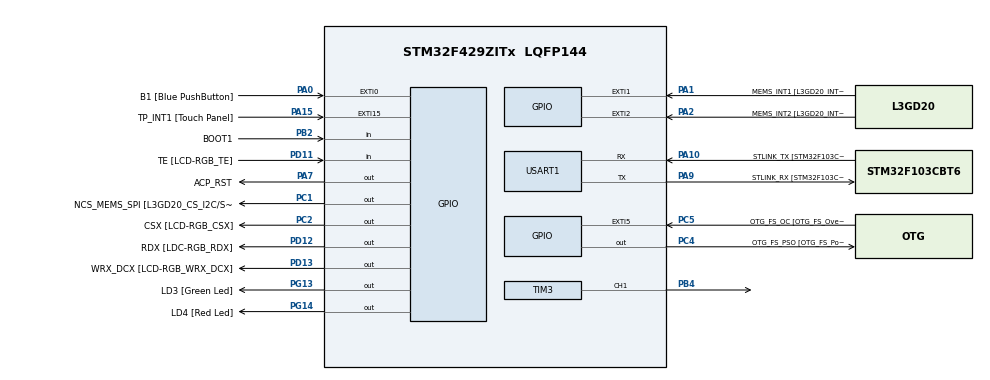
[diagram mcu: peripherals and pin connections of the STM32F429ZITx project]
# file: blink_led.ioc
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Dma.Request0=USART1_RX
Dma.USART1_RX.0.Direction=DMA_PERIPH_TO_MEMORY
Dma.USART1_RX.0.FIFOMode=DMA_FIFOMODE_DISABLE
Dma.USART1_RX.0.Instance=DMA2_Stream2
Dma.USART1_RX.0.MemDataAlignment=DMA_MDATAALIGN_BYTE
Dma.USART1_RX.0.MemInc=DMA_MINC_ENABLE
Dma.USART1_RX.0.Mode=DMA_CIRCULAR
Dma.USART1_RX.0.PeriphDataAlignment=DMA_PDATAALIGN_BYTE
Dma.USART1_RX.0.PeriphInc=DMA_PINC_DISABLE
Dma.USART1_RX.0.Priority=DMA_PRIORITY_LOW
FREERTOS.Tasks01=defaultTask,0,128,StartDefaultTask,Default,NULL,Dynamic,NULL,NULL
FREERTOS.configTOTAL_HEAP_SIZE=2048
Mcu.Family=STM32F4
Mcu.Name=STM32F429ZITx
Mcu.Package=LQFP144
NVIC.DMA2_Stream2_IRQn=true\:5\:0\:false\:false\:true\:true\:false\:true\:true
NVIC.PriorityGroup=NVIC_PRIORITYGROUP_4
NVIC.USART1_IRQn=true\:5\:0\:false\:false\:true\:true\:true\:true\:true
PA0/WKUP.GPIO_Label=B1 [Blue PushButton]
PA0/WKUP.GPIO_ModeDefaultEXTI=GPIO_MODE_EVT_RISING
PA0/WKUP.GPIO_PuPd=GPIO_NOPULL
PA0/WKUP.Signal=GPXTI0
PA1.GPIO_Label=MEMS_INT1 [L3GD20_INT1]
PA1.GPIO_ModeDefaultEXTI=GPIO_MODE_EVT_RISING
PA1.GPIO_PuPd=GPIO_NOPULL
PA1.Signal=GPXTI1
PA10.GPIO_Label=STLINK_TX [STM32F103CBT6_PA2]
PA10.Mode=Asynchronous
PA10.Signal=USART1_RX
PA11.GPIO_Label=R4
PA11.GPIO_Mode=GPIO_MODE_AF_PP
PA11.GPIO_PuPd=GPIO_NOPULL
PA11.GPIO_Speed=GPIO_SPEED_FREQ_LOW
PA11.Signal=LTDC_R4
PA12.GPIO_Label=R5
PA12.GPIO_Mode=GPIO_MODE_AF_PP
PA12.GPIO_PuPd=GPIO_NOPULL
PA12.GPIO_Speed=GPIO_SPEED_FREQ_LOW
PA12.Signal=LTDC_R5
PA13.GPIO_Label=SWDIO
PA13.Mode=Serial_Wire
PA13.Signal=SYS_JTMS-SWDIO
PA14.GPIO_Label=SWCLK
PA14.Mode=Serial_Wire
PA14.Signal=SYS_JTCK-SWCLK
PA15.GPIO_Label=TP_INT1 [Touch Panel]
PA15.GPIO_ModeDefaultEXTI=GPIO_MODE_EVT_RISING
PA15.GPIO_PuPd=GPIO_NOPULL
PA15.Signal=GPXTI15
PA2.GPIO_Label=MEMS_INT2 [L3GD20_INT2]
PA2.GPIO_ModeDefaultEXTI=GPIO_MODE_EVT_RISING
PA2.GPIO_PuPd=GPIO_NOPULL
PA2.Signal=GPXTI2
PA3.GPIO_Label=B5
PA3.GPIO_Mode=GPIO_MODE_AF_PP
PA3.GPIO_PuPd=GPIO_NOPULL
PA3.GPIO_Speed=GPIO_SPEED_FREQ_LOW
PA3.Signal=LTDC_B5
PA4.GPIO_Label=VSYNC
PA4.GPIO_Mode=GPIO_MODE_AF_PP
PA4.GPIO_PuPd=GPIO_NOPULL
PA4.GPIO_Speed=GPIO_SPEED_FREQ_LOW
PA4.Signal=LTDC_VSYNC
PA6.GPIO_Label=G2
PA6.GPIO_Mode=GPIO_MODE_AF_PP
PA6.GPIO_PuPd=GPIO_NOPULL
PA6.GPIO_Speed=GPIO_SPEED_FREQ_LOW
PA6.Signal=LTDC_G2
PA7.GPIO_Label=ACP_RST
PA7.GPIO_Mode=GPIO_MODE_OUTPUT_PP
PA7.GPIO_PuPd=GPIO_NOPULL
PA7.GPIO_Speed=GPIO_SPEED_FREQ_LOW
PA7.Signal=GPIO_Output
PA8.GPIO_Label=I2C3_SCL [ACP/RF_SCL]
PA8.GPIO_Mode=GPIO_MODE_AF_OD
PA8.GPIO_PuPd=GPIO_NOPULL
PA8.GPIO_Speed=GPIO_SPEED_FREQ_LOW
PA8.Signal=I2C3_SCL
PA9.GPIO_Label=STLINK_RX [STM32F103CBT6_PA3]
PA9.Mode=Asynchronous
PA9.Signal=USART1_TX
PB0.GPIO_Label=R3
PB0.GPIO_Mode=GPIO_MODE_AF_PP
PB0.GPIO_PuPd=GPIO_NOPULL
PB0.GPIO_Speed=GPIO_SPEED_FREQ_LOW
PB0.Signal=LTDC_R3
PB1.GPIO_Label=R6
PB1.GPIO_Mode=GPIO_MODE_AF_PP
PB1.GPIO_PuPd=GPIO_NOPULL
PB1.GPIO_Speed=GPIO_SPEED_FREQ_LOW
PB1.Signal=LTDC_R6
PB10.GPIO_Label=G4
PB10.GPIO_Mode=GPIO_MODE_AF_PP
PB10.GPIO_PuPd=GPIO_NOPULL
PB10.GPIO_Speed=GPIO_SPEED_FREQ_LOW
PB10.Signal=LTDC_G4
PB11.GPIO_Label=G5
PB11.GPIO_Mode=GPIO_MODE_AF_PP
PB11.GPIO_PuPd=GPIO_NOPULL
PB11.GPIO_Speed=GPIO_SPEED_FREQ_LOW
PB11.Signal=LTDC_G5
PB12.GPIO_Label=OTG_HS_ID
PB12.GPIO_Mode=GPIO_MODE_AF_PP
PB12.GPIO_PuPd=GPIO_NOPULL
PB12.GPIO_Speed=GPIO_SPEED_FREQ_LOW
PB12.Signal=USB_OTG_HS_ID
PB13.GPIO_Label=VBUS_HS
PB13.GPIO_Mode=GPIO_MODE_INPUT
PB13.GPIO_PuPd=GPIO_NOPULL
PB13.Signal=USB_OTG_HS_VBUS
PB14.GPIO_Label=OTG_HS_DM
PB14.GPIO_Mode=GPIO_MODE_AF_PP
PB14.GPIO_PuPd=GPIO_NOPULL
PB14.GPIO_Speed=GPIO_SPEED_FREQ_LOW
PB14.Signal=USB_OTG_HS_DM
PB15.GPIO_Label=OTG_HS_DP
PB15.GPIO_Mode=GPIO_MODE_AF_PP
PB15.GPIO_PuPd=GPIO_NOPULL
PB15.GPIO_Speed=GPIO_SPEED_FREQ_LOW
PB15.Signal=USB_OTG_HS_DP
PB2/BOOT1.GPIO_Label=BOOT1
PB2/BOOT1.GPIO_Mode=GPIO_MODE_INPUT
PB2/BOOT1.GPIO_PuPd=GPIO_NOPULL
PB2/BOOT1.Signal=GPIO_Input
PB4.Signal=S_TIM3_CH1
PB5.GPIO_Label=SDCKE1
PB5.GPIO_Mode=GPIO_MODE_AF_PP
PB5.GPIO_PuPd=GPIO_NOPULL
PB5.GPIO_Speed=GPIO_SPEED_FREQ_VERY_HIGH
PB5.Signal=FMC_SDCKE1
PB6.GPIO_Label=SDNE1 [SDRAM_CS]
PB6.GPIO_Mode=GPIO_MODE_AF_PP
PB6.GPIO_PuPd=GPIO_NOPULL
PB6.GPIO_Speed=GPIO_SPEED_FREQ_VERY_HIGH
PB6.Signal=FMC_SDNE1
PB8.GPIO_Label=B6
PB8.GPIO_Mode=GPIO_MODE_AF_PP
PB8.GPIO_PuPd=GPIO_NOPULL
PB8.GPIO_Speed=GPIO_SPEED_FREQ_LOW
PB8.Signal=LTDC_B6
PB9.GPIO_Label=B7
PB9.GPIO_Mode=GPIO_MODE_AF_PP
PB9.GPIO_PuPd=GPIO_NOPULL
PB9.GPIO_Speed=GPIO_SPEED_FREQ_LOW
PB9.Signal=LTDC_B7
PC0.GPIO_Label=SDNWE
PC0.GPIO_Mode=GPIO_MODE_AF_PP
PC0.GPIO_PuPd=GPIO_NOPULL
PC0.GPIO_Speed=GPIO_SPEED_FREQ_VERY_HIGH
PC0.Signal=FMC_SDNWE
PC1.GPIO_Label=NCS_MEMS_SPI [L3GD20_CS_I2C/SPI]
PC1.GPIO_Mode=GPIO_MODE_OUTPUT_PP
PC1.GPIO_PuPd=GPIO_NOPULL
PC1.GPIO_Speed=GPIO_SPEED_FREQ_LOW
PC1.Signal=GPIO_Output
PC10.GPIO_Label=R2
PC10.GPIO_Mode=GPIO_MODE_AF_PP
PC10.GPIO_PuPd=GPIO_NOPULL
PC10.GPIO_Speed=GPIO_SPEED_FREQ_LOW
PC10.Signal=LTDC_R2
PC14/OSC32_IN.GPIO_Label=PC14-OSC32_IN
PC14/OSC32_IN.Signal=RCC_OSC32_IN
PC15/OSC32_OUT.GPIO_Label=PC15-OSC32_OUT
PC15/OSC32_OUT.Signal=RCC_OSC32_OUT
PC2.GPIO_Label=CSX [LCD-RGB_CSX]
PC2.GPIO_Mode=GPIO_MODE_OUTPUT_PP
PC2.GPIO_PuPd=GPIO_NOPULL
PC2.GPIO_Speed=GPIO_SPEED_FREQ_LOW
PC2.Signal=GPIO_Output
PC4.GPIO_Label=OTG_FS_PSO [OTG_FS_PowerSwitchOn]
PC4.GPIO_Mode=GPIO_MODE_OUTPUT_PP
PC4.GPIO_PuPd=GPIO_NOPULL
PC4.GPIO_Speed=GPIO_SPEED_FREQ_LOW
PC4.Signal=GPIO_Output
PC5.GPIO_Label=OTG_FS_OC [OTG_FS_OverCurrent]
PC5.GPIO_ModeDefaultEXTI=GPIO_MODE_EVT_RISING
PC5.Signal=GPXTI5
PC6.GPIO_Label=HSYNC
PC6.GPIO_Mode=GPIO_MODE_AF_PP
PC6.GPIO_PuPd=GPIO_NOPULL
PC6.GPIO_Speed=GPIO_SPEED_FREQ_LOW
PC6.Signal=LTDC_HSYNC
PC7.GPIO_Label=G6
PC7.GPIO_Mode=GPIO_MODE_AF_PP
PC7.GPIO_PuPd=GPIO_NOPULL
PC7.GPIO_Speed=GPIO_SPEED_FREQ_LOW
PC7.Signal=LTDC_G6
PC9.GPIO_Label=I2C3_SDA [ACP/RF_SDA]
PC9.GPIO_Mode=GPIO_MODE_AF_OD
PC9.GPIO_PuPd=GPIO_NOPULL
PC9.GPIO_Speed=GPIO_SPEED_FREQ_LOW
PC9.Signal=I2C3_SDA
PD0.GPIO_Label=D2
PD0.GPIO_Mode=GPIO_MODE_AF_PP
PD0.GPIO_PuPd=GPIO_NOPULL
PD0.GPIO_Speed=GPIO_SPEED_FREQ_VERY_HIGH
PD0.Signal=FMC_D2_DA2
PD1.GPIO_Label=D3
PD1.GPIO_Mode=GPIO_MODE_AF_PP
PD1.GPIO_PuPd=GPIO_NOPULL
PD1.GPIO_Speed=GPIO_SPEED_FREQ_VERY_HIGH
PD1.Signal=FMC_D3_DA3
PD10.GPIO_Label=D15
PD10.GPIO_Mode=GPIO_MODE_AF_PP
PD10.GPIO_PuPd=GPIO_NOPULL
PD10.GPIO_Speed=GPIO_SPEED_FREQ_VERY_HIGH
PD10.Signal=FMC_D15_DA15
PD11.GPIO_Label=TE [LCD-RGB_TE]
PD11.GPIO_Mode=GPIO_MODE_INPUT
PD11.GPIO_PuPd=GPIO_NOPULL
PD11.Signal=GPIO_Input
PD12.GPIO_Label=RDX [LDC-RGB_RDX]
PD12.GPIO_Mode=GPIO_MODE_OUTPUT_PP
PD12.GPIO_PuPd=GPIO_NOPULL
PD12.GPIO_Speed=GPIO_SPEED_FREQ_LOW
PD12.Signal=GPIO_Output
PD13.GPIO_Label=WRX_DCX [LCD-RGB_WRX_DCX]
PD13.GPIO_Mode=GPIO_MODE_OUTPUT_PP
PD13.GPIO_PuPd=GPIO_NOPULL
PD13.GPIO_Speed=GPIO_SPEED_FREQ_LOW
PD13.Signal=GPIO_Output
PD14.GPIO_Label=D0
PD14.GPIO_Mode=GPIO_MODE_AF_PP
PD14.GPIO_PuPd=GPIO_NOPULL
PD14.GPIO_Speed=GPIO_SPEED_FREQ_VERY_HIGH
PD14.Signal=FMC_D0_DA0
PD15.GPIO_Label=D1
PD15.GPIO_Mode=GPIO_MODE_AF_PP
PD15.GPIO_PuPd=GPIO_NOPULL
PD15.GPIO_Speed=GPIO_SPEED_FREQ_VERY_HIGH
PD15.Signal=FMC_D1_DA1
PD3.GPIO_Label=G7
PD3.GPIO_Mode=GPIO_MODE_AF_PP
PD3.GPIO_PuPd=GPIO_NOPULL
PD3.GPIO_Speed=GPIO_SPEED_FREQ_LOW
PD3.Signal=LTDC_G7
PD6.GPIO_Label=B2
PD6.GPIO_Mode=GPIO_MODE_AF_PP
PD6.GPIO_PuPd=GPIO_NOPULL
PD6.GPIO_Speed=GPIO_SPEED_FREQ_LOW
PD6.Signal=LTDC_B2
PD8.GPIO_Label=D13
PD8.GPIO_Mode=GPIO_MODE_AF_PP
PD8.GPIO_PuPd=GPIO_NOPULL
PD8.GPIO_Speed=GPIO_SPEED_FREQ_VERY_HIGH
PD8.Signal=FMC_D13_DA13
PD9.GPIO_Label=D14
PD9.GPIO_Mode=GPIO_MODE_AF_PP
PD9.GPIO_PuPd=GPIO_NOPULL
PD9.GPIO_Speed=GPIO_SPEED_FREQ_VERY_HIGH
PD9.Signal=FMC_D14_DA14
PE0.GPIO_Label=NBL0 [SDRAM_LDQM]
PE0.GPIO_Mode=GPIO_MODE_AF_PP
PE0.GPIO_PuPd=GPIO_NOPULL
PE0.GPIO_Speed=GPIO_SPEED_FREQ_VERY_HIGH
PE0.Signal=FMC_NBL0
PE1.GPIO_Label=NBL1 [SDRAM_UDQM]
PE1.GPIO_Mode=GPIO_MODE_AF_PP
PE1.GPIO_PuPd=GPIO_NOPULL
PE1.GPIO_Speed=GPIO_SPEED_FREQ_VERY_HIGH
PE1.Signal=FMC_NBL1
PE10.GPIO_Label=D7
PE10.GPIO_Mode=GPIO_MODE_AF_PP
PE10.GPIO_PuPd=GPIO_NOPULL
PE10.GPIO_Speed=GPIO_SPEED_FREQ_VERY_HIGH
PE10.Signal=FMC_D7_DA7
PE11.GPIO_Label=D8
PE11.GPIO_Mode=GPIO_MODE_AF_PP
PE11.GPIO_PuPd=GPIO_NOPULL
PE11.GPIO_Speed=GPIO_SPEED_FREQ_VERY_HIGH
PE11.Signal=FMC_D8_DA8
PE12.GPIO_Label=D9
PE12.GPIO_Mode=GPIO_MODE_AF_PP
PE12.GPIO_PuPd=GPIO_NOPULL
PE12.GPIO_Speed=GPIO_SPEED_FREQ_VERY_HIGH
PE12.Signal=FMC_D9_DA9
PE13.GPIO_Label=D10
PE13.GPIO_Mode=GPIO_MODE_AF_PP
PE13.GPIO_PuPd=GPIO_NOPULL
PE13.GPIO_Speed=GPIO_SPEED_FREQ_VERY_HIGH
PE13.Signal=FMC_D10_DA10
PE14.GPIO_Label=D11
PE14.GPIO_Mode=GPIO_MODE_AF_PP
PE14.GPIO_PuPd=GPIO_NOPULL
PE14.GPIO_Speed=GPIO_SPEED_FREQ_VERY_HIGH
PE14.Signal=FMC_D11_DA11
PE15.GPIO_Label=D12
PE15.GPIO_Mode=GPIO_MODE_AF_PP
PE15.GPIO_PuPd=GPIO_NOPULL
PE15.GPIO_Speed=GPIO_SPEED_FREQ_VERY_HIGH
PE15.Signal=FMC_D12_DA12
PE7.GPIO_Label=D4
PE7.GPIO_Mode=GPIO_MODE_AF_PP
PE7.GPIO_PuPd=GPIO_NOPULL
PE7.GPIO_Speed=GPIO_SPEED_FREQ_VERY_HIGH
PE7.Signal=FMC_D4_DA4
PE8.GPIO_Label=D5
PE8.GPIO_Mode=GPIO_MODE_AF_PP
PE8.GPIO_PuPd=GPIO_NOPULL
PE8.GPIO_Speed=GPIO_SPEED_FREQ_VERY_HIGH
PE8.Signal=FMC_D5_DA5
PE9.GPIO_Label=D6
PE9.GPIO_Mode=GPIO_MODE_AF_PP
PE9.GPIO_PuPd=GPIO_NOPULL
PE9.GPIO_Speed=GPIO_SPEED_FREQ_VERY_HIGH
PE9.Signal=FMC_D6_DA6
PF0.GPIO_Label=A0
PF0.GPIO_Mode=GPIO_MODE_AF_PP
PF0.GPIO_PuPd=GPIO_NOPULL
PF0.GPIO_Speed=GPIO_SPEED_FREQ_VERY_HIGH
PF0.Signal=FMC_A0
PF1.GPIO_Label=A1
PF1.GPIO_Mode=GPIO_MODE_AF_PP
PF1.GPIO_PuPd=GPIO_NOPULL
PF1.GPIO_Speed=GPIO_SPEED_FREQ_VERY_HIGH
PF1.Signal=FMC_A1
PF10.GPIO_Label=ENABLE [LCD-RGB_ENABLE]
PF10.GPIO_Mode=GPIO_MODE_AF_PP
PF10.GPIO_PuPd=GPIO_NOPULL
PF10.GPIO_Speed=GPIO_SPEED_FREQ_LOW
PF10.Signal=LTDC_DE
PF11.GPIO_Label=SDNRAS
PF11.GPIO_Mode=GPIO_MODE_AF_PP
PF11.GPIO_PuPd=GPIO_NOPULL
PF11.GPIO_Speed=GPIO_SPEED_FREQ_VERY_HIGH
PF11.Signal=FMC_SDNRAS
PF12.GPIO_Label=A6
PF12.GPIO_Mode=GPIO_MODE_AF_PP
PF12.GPIO_PuPd=GPIO_NOPULL
PF12.GPIO_Speed=GPIO_SPEED_FREQ_VERY_HIGH
PF12.Signal=FMC_A6
PF13.GPIO_Label=A7
PF13.GPIO_Mode=GPIO_MODE_AF_PP
PF13.GPIO_PuPd=GPIO_NOPULL
PF13.GPIO_Speed=GPIO_SPEED_FREQ_VERY_HIGH
PF13.Signal=FMC_A7
PF14.GPIO_Label=A8
PF14.GPIO_Mode=GPIO_MODE_AF_PP
PF14.GPIO_PuPd=GPIO_NOPULL
PF14.GPIO_Speed=GPIO_SPEED_FREQ_VERY_HIGH
PF14.Signal=FMC_A8
PF15.GPIO_Label=A9
PF15.GPIO_Mode=GPIO_MODE_AF_PP
PF15.GPIO_PuPd=GPIO_NOPULL
PF15.GPIO_Speed=GPIO_SPEED_FREQ_VERY_HIGH
PF15.Signal=FMC_A9
PF2.GPIO_Label=A2
PF2.GPIO_Mode=GPIO_MODE_AF_PP
PF2.GPIO_PuPd=GPIO_NOPULL
PF2.GPIO_Speed=GPIO_SPEED_FREQ_VERY_HIGH
PF2.Signal=FMC_A2
PF3.GPIO_Label=A3
PF3.GPIO_Mode=GPIO_MODE_AF_PP
PF3.GPIO_PuPd=GPIO_NOPULL
PF3.GPIO_Speed=GPIO_SPEED_FREQ_VERY_HIGH
PF3.Signal=FMC_A3
PF4.GPIO_Label=A4
PF4.GPIO_Mode=GPIO_MODE_AF_PP
PF4.GPIO_PuPd=GPIO_NOPULL
PF4.GPIO_Speed=GPIO_SPEED_FREQ_VERY_HIGH
PF4.Signal=FMC_A4
PF5.GPIO_Label=A5
PF5.GPIO_Mode=GPIO_MODE_AF_PP
PF5.GPIO_PuPd=GPIO_NOPULL
PF5.GPIO_Speed=GPIO_SPEED_FREQ_VERY_HIGH
PF5.Signal=FMC_A5
PF7.GPIO_Label=SPI5_SCK [L3GD20_SCL/SPC]
PF7.GPIO_Mode=GPIO_MODE_AF_PP
PF7.GPIO_PuPd=GPIO_NOPULL
PF7.GPIO_Speed=GPIO_SPEED_FREQ_LOW
PF7.Signal=SPI5_SCK
PF8.GPIO_Label=SPI5_MISO [L3GD20_SDO]
PF8.GPIO_Mode=GPIO_MODE_AF_PP
PF8.GPIO_PuPd=GPIO_NOPULL
PF8.GPIO_Speed=GPIO_SPEED_FREQ_LOW
PF8.Signal=SPI5_MISO
PF9.GPIO_Label=SPI5_MOSI [L3GD20_SDA/SDI/SDO]
PF9.GPIO_Mode=GPIO_MODE_AF_PP
PF9.GPIO_PuPd=GPIO_NOPULL
PF9.GPIO_Speed=GPIO_SPEED_FREQ_LOW
PF9.Signal=SPI5_MOSI
PG0.GPIO_Label=A10
PG0.GPIO_Mode=GPIO_MODE_AF_PP
PG0.GPIO_PuPd=GPIO_NOPULL
PG0.GPIO_Speed=GPIO_SPEED_FREQ_VERY_HIGH
PG0.Signal=FMC_A10
PG1.GPIO_Label=A11
PG1.GPIO_Mode=GPIO_MODE_AF_PP
PG1.GPIO_PuPd=GPIO_NOPULL
PG1.GPIO_Speed=GPIO_SPEED_FREQ_VERY_HIGH
PG1.Signal=FMC_A11
PG10.GPIO_Label=G3
PG10.GPIO_Mode=GPIO_MODE_AF_PP
PG10.GPIO_PuPd=GPIO_NOPULL
PG10.GPIO_Speed=GPIO_SPEED_FREQ_LOW
PG10.Signal=LTDC_G3
PG11.GPIO_Label=B3
PG11.GPIO_Mode=GPIO_MODE_AF_PP
PG11.GPIO_PuPd=GPIO_NOPULL
PG11.GPIO_Speed=GPIO_SPEED_FREQ_LOW
PG11.Signal=LTDC_B3
PG12.GPIO_Label=B4
PG12.GPIO_Mode=GPIO_MODE_AF_PP
PG12.GPIO_PuPd=GPIO_NOPULL
PG12.GPIO_Speed=GPIO_SPEED_FREQ_LOW
PG12.Signal=LTDC_B4
PG13.GPIO_Label=LD3 [Green Led]
PG13.GPIO_Mode=GPIO_MODE_OUTPUT_PP
PG13.GPIO_PuPd=GPIO_NOPULL
PG13.GPIO_Speed=GPIO_SPEED_FREQ_LOW
PG13.Signal=GPIO_Output
PG14.GPIO_Label=LD4 [Red Led]
PG14.GPIO_Mode=GPIO_MODE_OUTPUT_PP
PG14.GPIO_PuPd=GPIO_NOPULL
PG14.GPIO_Speed=GPIO_SPEED_FREQ_LOW
PG14.Signal=GPIO_Output
PG15.GPIO_Label=SDNCAS
PG15.GPIO_Mode=GPIO_MODE_AF_PP
PG15.GPIO_PuPd=GPIO_NOPULL
PG15.GPIO_Speed=GPIO_SPEED_FREQ_VERY_HIGH
PG15.Signal=FMC_SDNCAS
PG4.GPIO_Label=BA0
PG4.GPIO_Mode=GPIO_MODE_AF_PP
PG4.GPIO_PuPd=GPIO_NOPULL
PG4.GPIO_Speed=GPIO_SPEED_FREQ_VERY_HIGH
PG4.Signal=FMC_A14_BA0
PG5.GPIO_Label=BA1
PG5.GPIO_Mode=GPIO_MODE_AF_PP
PG5.GPIO_PuPd=GPIO_NOPULL
PG5.GPIO_Speed=GPIO_SPEED_FREQ_VERY_HIGH
PG5.Signal=FMC_A15_BA1
PG6.GPIO_Label=R7
PG6.GPIO_Mode=GPIO_MODE_AF_PP
PG6.GPIO_PuPd=GPIO_NOPULL
PG6.GPIO_Speed=GPIO_SPEED_FREQ_LOW
PG6.Signal=LTDC_R7
PG7.GPIO_Label=DOTCLK [LCT-RGB_DOTCLK]
PG7.GPIO_Mode=GPIO_MODE_AF_PP
PG7.GPIO_PuPd=GPIO_NOPULL
PG7.GPIO_Speed=GPIO_SPEED_FREQ_LOW
PG7.Signal=LTDC_CLK
PG8.GPIO_Label=SDCLK
PG8.GPIO_Mode=GPIO_MODE_AF_PP
PG8.GPIO_PuPd=GPIO_NOPULL
PG8.GPIO_Speed=GPIO_SPEED_FREQ_VERY_HIGH
PG8.Signal=FMC_SDCLK
PH0/OSC_IN.GPIO_Label=PH0-OSC_IN
PH0/OSC_IN.Signal=RCC_OSC_IN
PH1/OSC_OUT.GPIO_Label=PH1-OSC_OUT
PH1/OSC_OUT.Signal=RCC_OSC_OUT
ProjectManager.HeapSize=0x200
ProjectManager.StackSize=0x400
ProjectManager.TargetToolchain=CMake
RCC.48MHZClocksFreq_Value=14285714.285714285
RCC.AHBFreq_Value=25000000
RCC.APB1CLKDivider=RCC_HCLK_DIV8
RCC.APB1Freq_Value=3125000
RCC.APB1TimFreq_Value=6250000
RCC.APB2CLKDivider=RCC_HCLK_DIV4
RCC.APB2Freq_Value=6250000
RCC.APB2TimFreq_Value=12500000
RCC.CortexFreq_Value=25000000
RCC.HCLKFreq_Value=25000000
RCC.HSE_VALUE=8000000
RCC.HSI_VALUE=16000000
RCC.LSE_VALUE=32768
RCC.PLLM=8
RCC.PLLN=50
RCC.PLLP=RCC_PLLP_DIV4
RCC.PLLQ=7
RCC.SYSCLKFreq_VALUE=25000000
RCC.SYSCLKSource=RCC_SYSCLKSOURCE_PLLCLK
RCC.VCOOutputFreq_Value=100000000
SH.FMC_A0.0=FMC_A0
SH.FMC_A1.0=FMC_A1
SH.FMC_A10.0=FMC_A10
SH.FMC_A11.0=FMC_A11
SH.FMC_A14_BA0.0=FMC_BA0
SH.FMC_A15_BA1.0=FMC_BA1
SH.FMC_A2.0=FMC_A2
SH.FMC_A3.0=FMC_A3
SH.FMC_A4.0=FMC_A4
SH.FMC_A5.0=FMC_A5
SH.FMC_A6.0=FMC_A6
SH.FMC_A7.0=FMC_A7
SH.FMC_A8.0=FMC_A8
SH.FMC_A9.0=FMC_A9
SH.FMC_D0_DA0.0=FMC_D0
SH.FMC_D10_DA10.0=FMC_D10
SH.FMC_D11_DA11.0=FMC_D11
SH.FMC_D12_DA12.0=FMC_D12
SH.FMC_D13_DA13.0=FMC_D13
SH.FMC_D14_DA14.0=FMC_D14
SH.FMC_D15_DA15.0=FMC_D15
SH.FMC_D1_DA1.0=FMC_D1
SH.FMC_D2_DA2.0=FMC_D2
SH.FMC_D3_DA3.0=FMC_D3
SH.FMC_D4_DA4.0=FMC_D4
SH.FMC_D5_DA5.0=FMC_D5
SH.FMC_D6_DA6.0=FMC_D6
SH.FMC_D7_DA7.0=FMC_D7
SH.FMC_D8_DA8.0=FMC_D8
SH.FMC_D9_DA9.0=FMC_D9
SH.FMC_NBL0.0=FMC_NBL0
SH.FMC_NBL1.0=FMC_NBL1
SH.FMC_SDCLK.0=FMC_SDCLK
SH.FMC_SDNCAS.0=FMC_SDNCAS
SH.FMC_SDNRAS.0=FMC_SDNRAS
SH.FMC_SDNWE.0=FMC_SDNWE
SH.S_TIM3_CH1.0=TIM3_CH1,PWM Generation1 CH1
TIM3.Channel-PWM\ Generation1\ CH1=TIM_CHANNEL_1
TIM3.Period=1000
TIM3.Pulse-PWM\ Generation1\ CH1=500
USART1.VirtualMode=VM_ASYNC
VP_FREERTOS_VS_CMSIS_V1.Mode=CMSIS_V1
VP_TIM2_VS_ClockSourceINT.Mode=Internal
board=STM32F429I-DISC1

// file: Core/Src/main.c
/* USER CODE BEGIN Header */
/**
  ******************************************************************************
  * @file           : main.c
  * @brief          : Main program body
  ******************************************************************************
  * @attention
  *
  * Copyright (c) 2026 STMicroelectronics.
  * All rights reserved.
  *
  * This software is licensed under terms that can be found in the LICENSE file
  * in the root directory of this software component.
  * If no LICENSE file comes with this software, it is provided AS-IS.
  *
  ******************************************************************************
  */
/* USER CODE END Header */
#include "main.h"
#include "cmsis_os.h"

/* USER CODE BEGIN Includes */
#include <stdint.h>
#include <string.h>
#include <stdio.h>
/* USER CODE END Includes */

// osThreadId defaultTaskHandle;
/* USER CODE BEGIN PV */
QueueHandle_t cmdQueueHandle;
QueueHandle_t rxQueueHandle;
QueueHandle_t txQueueHandle;

TaskHandle_t uartRxTaskHandle;
TaskHandle_t uartTxTaskHandle;
TaskHandle_t commandTaskHandle;

SemaphoreHandle_t uartMutex;
/* USER CODE END PV */

void SystemClock_Config(void);
static void MX_GPIO_Init(void);
static void MX_DMA_Init(void);
static void MX_TIM2_Init(void);
static void MX_TIM3_Init(void);
static void MX_USART1_UART_Init(void);
void StartDefaultTask(void const * argument);

/* USER CODE BEGIN PFP */
void UartRxTask(void const * argument);
void UartTxTask(void const * argument);
void CommandTask(void const * argument);

static void process_byte(uint8_t rx);
void UART1_SendByte(uint8_t data)
{
    // Чекаємо, поки передавач готовий
    while (!LL_USART_IsActiveFlag_TXE(USART1));
    LL_USART_TransmitData8(USART1, data);
}

/* USER CODE END PFP */

/* USER CODE BEGIN 0 */

#define DMA_RX_BUFFER_SIZE 64

uint8_t dmaRxBuffer[DMA_RX_BUFFER_SIZE];

void UART1_SendString(const char* str)
{
  xSemaphoreTake(uartMutex, portMAX_DELAY);
  while(*str)
  {
      UART1_SendByte(*str++);
  }
  xSemaphoreGive(uartMutex);
}
#define CMD_BUFFER_SIZE 16
#define TX_BUFFER_SIZE 64
char cmdBuffer[CMD_BUFFER_SIZE];
uint8_t cmdIndex = 0;
uint8_t start_flag = 0;
uint8_t end_flag = 0;
uint8_t led_on = 0;

void cleanupBuffers()
{
	cmdIndex = 0;
	cmdBuffer[0] = '\0';
	start_flag = 0;
	end_flag = 0;
}

typedef struct {
    char data[CMD_BUFFER_SIZE];
} Command_t;

typedef struct {
    char data[TX_BUFFER_SIZE];
} TxMessage_t;

/* USER CODE END 0 */

int main(void)
{

  /* MCU Configuration--------------------------------------------------------*/

  /* Reset of all peripherals, Initializes the Flash interface and the Systick. */
  LL_APB2_GRP1_EnableClock(LL_APB2_GRP1_PERIPH_SYSCFG);
  LL_APB1_GRP1_EnableClock(LL_APB1_GRP1_PERIPH_PWR);

  /* System interrupt init*/
  NVIC_SetPriorityGrouping(NVIC_PRIORITYGROUP_4);

  /* PendSV_IRQn interrupt configuration */
  NVIC_SetPriority(PendSV_IRQn, NVIC_EncodePriority(NVIC_GetPriorityGrouping(),15, 0));
  /* SysTick_IRQn interrupt configuration */
  NVIC_SetPriority(SysTick_IRQn, NVIC_EncodePriority(NVIC_GetPriorityGrouping(),15, 0));

  /* Configure the system clock */
  SystemClock_Config();

  /* Initialize all configured peripherals */
  MX_GPIO_Init();
  MX_DMA_Init();
  MX_TIM2_Init();
  MX_TIM3_Init();
  MX_USART1_UART_Init();
  /* USER CODE BEGIN 2 */
  LL_USART_EnableDMAReq_RX(USART1);
  LL_DMA_SetDataLength(DMA2, LL_DMA_STREAM_2, DMA_RX_BUFFER_SIZE);

  LL_DMA_SetPeriphAddress(DMA2, LL_DMA_STREAM_2, (uint32_t)&USART1->DR);
  LL_DMA_SetMemoryAddress(DMA2, LL_DMA_STREAM_2, (uint32_t)dmaRxBuffer);
  LL_DMA_SetDataLength(DMA2, LL_DMA_STREAM_2, DMA_RX_BUFFER_SIZE);

  LL_DMA_EnableStream(DMA2, LL_DMA_STREAM_2);

  // LL_USART_EnableIT_RXNE(USART1);
  NVIC_SetPriority(USART1_IRQn, 7);
  NVIC_EnableIRQ(USART1_IRQn);

  // UART1_SendString("STM32 LL UART ready!\r\n");

  /* USER CODE END 2 */

  /* USER CODE BEGIN RTOS_MUTEX */
  /* add mutexes, ... */
  uartMutex = xSemaphoreCreateMutex();
  /* USER CODE END RTOS_MUTEX */

  /* USER CODE BEGIN RTOS_QUEUES */
  /* add queues, ... */

  rxQueueHandle  = xQueueCreate(32, sizeof(uint16_t));
  if (rxQueueHandle == NULL)
  {
    UART1_SendString("UartRxTask Queue create FAILED\r\n");
    Error_Handler();
  }
  cmdQueueHandle = xQueueCreate(5, sizeof(Command_t));
  if (cmdQueueHandle == NULL)
  {
    UART1_SendString("CommandTask Queue create FAILED\r\n");
    Error_Handler();
  }
  txQueueHandle  = xQueueCreate(5, sizeof(TxMessage_t));
  if (txQueueHandle == NULL)
  {
    UART1_SendString("UartTxTask Queue create FAILED\r\n");
    Error_Handler();
  }
  /* USER CODE END RTOS_QUEUES */

  /* Create the thread(s) */
  /* definition and creation of defaultTask */
  // osThreadDef(defaultTask, StartDefaultTask, osPriorityNormal, 0, 128);
  // defaultTaskHandle = osThreadCreate(osThread(defaultTask), NULL);

  /* USER CODE BEGIN RTOS_THREADS */
  /* add threads, ... */
  osThreadDef(uartRxTask, UartRxTask, osPriorityNormal, 0, 256);
  uartRxTaskHandle = osThreadCreate(osThread(uartRxTask), NULL);
  if (uartRxTaskHandle == NULL)
  {
    UART1_SendString("uartRxTaskHandle: FAIL\r\n");
  }

  /**
  | Компонент       | Памʼять     |
  | --------------- | ----------- |
  | Stack задач     | 2048 B      |   256 words * 4 bytes = 1024 bytes * 2 = 2048 bytes
  | TCB             | 400 B       |   ~200 bytes * 2 = ~400 bytes
  | Queue           | 290 B       |   Queue Control Block (QCB) = ~80 bytes * 2 = 160 bytes + rxQueueHandle: 32 * 8 bytes / cmdQueueHandle: 5 * 16 bytes + alignments
  | Kernel overhead | 400 B       |   configMINIMAL_STACK_SIZE = 128 => 128 words × 4 bytes = 512 bytes
  | **Total**       | **3000+ B** |
  */

  osThreadDef(commandTask, CommandTask, osPriorityNormal, 0, 256);
  commandTaskHandle = osThreadCreate(osThread(commandTask), NULL);
  if (commandTaskHandle == NULL)
  {
    UART1_SendString("commandTaskHandle: FAIL\r\n");
  }
  osThreadDef(uartTxTask, UartTxTask, osPriorityLow, 0, 256);
  uartTxTaskHandle = osThreadCreate(osThread(uartTxTask), NULL);
  if (uartTxTaskHandle == NULL)
  {
    UART1_SendString("uartTxTaskHandle: FAIL\r\n");
  }
  /* USER CODE END RTOS_THREADS */

  /* Start scheduler */
  osKernelStart();

  /* We should never get here as control is now taken by the scheduler */

  /* Infinite loop */
  while (1)
  {

  }
}

void SystemClock_Config(void)
{
  LL_FLASH_SetLatency(LL_FLASH_LATENCY_0);
  while(LL_FLASH_GetLatency()!= LL_FLASH_LATENCY_0)
  {
  }
  LL_PWR_SetRegulVoltageScaling(LL_PWR_REGU_VOLTAGE_SCALE3);
  LL_PWR_DisableOverDriveMode();
  LL_RCC_HSI_SetCalibTrimming(16);
  LL_RCC_HSI_Enable();

   /* Wait till HSI is ready */
  while(LL_RCC_HSI_IsReady() != 1)
  {

  }
  LL_RCC_PLL_ConfigDomain_SYS(LL_RCC_PLLSOURCE_HSI, LL_RCC_PLLM_DIV_8, 50, LL_RCC_PLLP_DIV_4);
  LL_RCC_PLL_Enable();

   /* Wait till PLL is ready */
  while(LL_RCC_PLL_IsReady() != 1)
  {

  }
  while (LL_PWR_IsActiveFlag_VOS() == 0)
  {
  }
  LL_RCC_SetAHBPrescaler(LL_RCC_SYSCLK_DIV_1);
  LL_RCC_SetAPB1Prescaler(LL_RCC_APB1_DIV_8);
  LL_RCC_SetAPB2Prescaler(LL_RCC_APB2_DIV_4);
  LL_RCC_SetSysClkSource(LL_RCC_SYS_CLKSOURCE_PLL);

   /* Wait till System clock is ready */
  while(LL_RCC_GetSysClkSource() != LL_RCC_SYS_CLKSOURCE_STATUS_PLL)
  {

  }
  LL_Init1msTick(25000000);
  LL_SetSystemCoreClock(25000000);
  LL_RCC_SetTIMPrescaler(LL_RCC_TIM_PRESCALER_TWICE);
}

static void MX_TIM2_Init(void)
{

  LL_TIM_InitTypeDef TIM_InitStruct = {0};

  /* Peripheral clock enable */
  LL_APB1_GRP1_EnableClock(LL_APB1_GRP1_PERIPH_TIM2);

  TIM_InitStruct.Prescaler = 0;
  TIM_InitStruct.CounterMode = LL_TIM_COUNTERMODE_UP;
  TIM_InitStruct.Autoreload = 4294967295;
  TIM_InitStruct.ClockDivision = LL_TIM_CLOCKDIVISION_DIV1;
  LL_TIM_Init(TIM2, &TIM_InitStruct);
  LL_TIM_DisableARRPreload(TIM2);
  LL_TIM_SetClockSource(TIM2, LL_TIM_CLOCKSOURCE_INTERNAL);
  LL_TIM_SetTriggerOutput(TIM2, LL_TIM_TRGO_RESET);
  LL_TIM_DisableMasterSlaveMode(TIM2);

}

static void MX_TIM3_Init(void)
{

  LL_TIM_InitTypeDef TIM_InitStruct = {0};
  LL_TIM_OC_InitTypeDef TIM_OC_InitStruct = {0};

  LL_GPIO_InitTypeDef GPIO_InitStruct = {0};

  /* Peripheral clock enable */
  LL_APB1_GRP1_EnableClock(LL_APB1_GRP1_PERIPH_TIM3);

  TIM_InitStruct.Prescaler = 0;
  TIM_InitStruct.CounterMode = LL_TIM_COUNTERMODE_UP;
  TIM_InitStruct.Autoreload = 1000;
  TIM_InitStruct.ClockDivision = LL_TIM_CLOCKDIVISION_DIV1;
  LL_TIM_Init(TIM3, &TIM_InitStruct);
  LL_TIM_DisableARRPreload(TIM3);
  LL_TIM_OC_EnablePreload(TIM3, LL_TIM_CHANNEL_CH1);
  TIM_OC_InitStruct.OCMode = LL_TIM_OCMODE_PWM1;
  TIM_OC_InitStruct.OCState = LL_TIM_OCSTATE_DISABLE;
  TIM_OC_InitStruct.OCNState = LL_TIM_OCSTATE_DISABLE;
  TIM_OC_InitStruct.CompareValue = 500;
  TIM_OC_InitStruct.OCPolarity = LL_TIM_OCPOLARITY_HIGH;
  LL_TIM_OC_Init(TIM3, LL_TIM_CHANNEL_CH1, &TIM_OC_InitStruct);
  LL_TIM_OC_DisableFast(TIM3, LL_TIM_CHANNEL_CH1);
  LL_TIM_SetTriggerOutput(TIM3, LL_TIM_TRGO_RESET);
  LL_TIM_DisableMasterSlaveMode(TIM3);
  LL_AHB1_GRP1_EnableClock(LL_AHB1_GRP1_PERIPH_GPIOB);
  /**TIM3 GPIO Configuration
  PB4   ------> TIM3_CH1
  */
  GPIO_InitStruct.Pin = LL_GPIO_PIN_4;
  GPIO_InitStruct.Mode = LL_GPIO_MODE_ALTERNATE;
  GPIO_InitStruct.Speed = LL_GPIO_SPEED_FREQ_LOW;
  GPIO_InitStruct.OutputType = LL_GPIO_OUTPUT_PUSHPULL;
  GPIO_InitStruct.Pull = LL_GPIO_PULL_NO;
  GPIO_InitStruct.Alternate = LL_GPIO_AF_2;
  LL_GPIO_Init(GPIOB, &GPIO_InitStruct);

}

static void MX_USART1_UART_Init(void)
{

  LL_USART_InitTypeDef USART_InitStruct = {0};

  LL_GPIO_InitTypeDef GPIO_InitStruct = {0};

  /* Peripheral clock enable */
  LL_APB2_GRP1_EnableClock(LL_APB2_GRP1_PERIPH_USART1);

  LL_AHB1_GRP1_EnableClock(LL_AHB1_GRP1_PERIPH_GPIOA);
  /**USART1 GPIO Configuration
  PA9   ------> USART1_TX
  PA10   ------> USART1_RX
  */
  GPIO_InitStruct.Pin = STLINK_RX_Pin|STLINK_TX_Pin;
  GPIO_InitStruct.Mode = LL_GPIO_MODE_ALTERNATE;
  GPIO_InitStruct.Speed = LL_GPIO_SPEED_FREQ_VERY_HIGH;
  GPIO_InitStruct.OutputType = LL_GPIO_OUTPUT_PUSHPULL;
  GPIO_InitStruct.Pull = LL_GPIO_PULL_NO;
  GPIO_InitStruct.Alternate = LL_GPIO_AF_7;
  LL_GPIO_Init(GPIOA, &GPIO_InitStruct);

  /* USART1 DMA Init */

  /* USART1_RX Init */
  LL_DMA_SetChannelSelection(DMA2, LL_DMA_STREAM_2, LL_DMA_CHANNEL_4);

  LL_DMA_SetDataTransferDirection(DMA2, LL_DMA_STREAM_2, LL_DMA_DIRECTION_PERIPH_TO_MEMORY);

  LL_DMA_SetStreamPriorityLevel(DMA2, LL_DMA_STREAM_2, LL_DMA_PRIORITY_LOW);

  LL_DMA_SetMode(DMA2, LL_DMA_STREAM_2, LL_DMA_MODE_CIRCULAR);

  LL_DMA_SetPeriphIncMode(DMA2, LL_DMA_STREAM_2, LL_DMA_PERIPH_NOINCREMENT);

  LL_DMA_SetMemoryIncMode(DMA2, LL_DMA_STREAM_2, LL_DMA_MEMORY_INCREMENT);

  LL_DMA_SetPeriphSize(DMA2, LL_DMA_STREAM_2, LL_DMA_PDATAALIGN_BYTE);

  LL_DMA_SetMemorySize(DMA2, LL_DMA_STREAM_2, LL_DMA_MDATAALIGN_BYTE);

  LL_DMA_DisableFifoMode(DMA2, LL_DMA_STREAM_2);

  /* USART1 interrupt Init */
  NVIC_SetPriority(USART1_IRQn, NVIC_EncodePriority(NVIC_GetPriorityGrouping(),5, 0));
  NVIC_EnableIRQ(USART1_IRQn);

  USART_InitStruct.BaudRate = 115200;
  USART_InitStruct.DataWidth = LL_USART_DATAWIDTH_8B;
  USART_InitStruct.StopBits = LL_USART_STOPBITS_1;
  USART_InitStruct.Parity = LL_USART_PARITY_NONE;
  USART_InitStruct.TransferDirection = LL_USART_DIRECTION_TX_RX;
  USART_InitStruct.HardwareFlowControl = LL_USART_HWCONTROL_NONE;
  USART_InitStruct.OverSampling = LL_USART_OVERSAMPLING_16;
  LL_USART_Init(USART1, &USART_InitStruct);
  LL_USART_ConfigAsyncMode(USART1);
  LL_USART_Enable(USART1);
  /* USER CODE BEGIN USART1_Init 2 */
  LL_USART_EnableIT_IDLE(USART1);

  /* USER CODE END USART1_Init 2 */

}

static void MX_DMA_Init(void)
{

  /* Init with LL driver */
  /* DMA controller clock enable */
  LL_AHB1_GRP1_EnableClock(LL_AHB1_GRP1_PERIPH_DMA2);

  /* DMA interrupt init */
  /* DMA2_Stream2_IRQn interrupt configuration */
  NVIC_SetPriority(DMA2_Stream2_IRQn, NVIC_EncodePriority(NVIC_GetPriorityGrouping(),5, 0));
  NVIC_EnableIRQ(DMA2_Stream2_IRQn);

}

static void MX_GPIO_Init(void)
{
  LL_EXTI_InitTypeDef EXTI_InitStruct = {0};
  LL_GPIO_InitTypeDef GPIO_InitStruct = {0};

  /* GPIO Ports Clock Enable */
  LL_AHB1_GRP1_EnableClock(LL_AHB1_GRP1_PERIPH_GPIOC);
  LL_AHB1_GRP1_EnableClock(LL_AHB1_GRP1_PERIPH_GPIOF);
  LL_AHB1_GRP1_EnableClock(LL_AHB1_GRP1_PERIPH_GPIOH);
  LL_AHB1_GRP1_EnableClock(LL_AHB1_GRP1_PERIPH_GPIOA);
  LL_AHB1_GRP1_EnableClock(LL_AHB1_GRP1_PERIPH_GPIOB);
  LL_AHB1_GRP1_EnableClock(LL_AHB1_GRP1_PERIPH_GPIOG);
  LL_AHB1_GRP1_EnableClock(LL_AHB1_GRP1_PERIPH_GPIOE);
  LL_AHB1_GRP1_EnableClock(LL_AHB1_GRP1_PERIPH_GPIOD);

  /**/
  LL_GPIO_ResetOutputPin(GPIOC, NCS_MEMS_SPI_Pin|CSX_Pin|OTG_FS_PSO_Pin);

  /**/
  LL_GPIO_ResetOutputPin(ACP_RST_GPIO_Port, ACP_RST_Pin);

  /**/
  LL_GPIO_ResetOutputPin(GPIOD, RDX_Pin|WRX_DCX_Pin);

  /**/
  LL_GPIO_ResetOutputPin(GPIOG, LD3_Pin|LD4_Pin);

  /**/
  GPIO_InitStruct.Pin = A0_Pin|A1_Pin|A2_Pin|A3_Pin
                          |A4_Pin|A5_Pin|SDNRAS_Pin|A6_Pin
                          |A7_Pin|A8_Pin|A9_Pin;
  GPIO_InitStruct.Mode = LL_GPIO_MODE_ALTERNATE;
  GPIO_InitStruct.Speed = LL_GPIO_SPEED_FREQ_VERY_HIGH;
  GPIO_InitStruct.OutputType = LL_GPIO_OUTPUT_PUSHPULL;
  GPIO_InitStruct.Pull = LL_GPIO_PULL_NO;
  GPIO_InitStruct.Alternate = LL_GPIO_AF_12;
  LL_GPIO_Init(GPIOF, &GPIO_InitStruct);

  /**/
  GPIO_InitStruct.Pin = SPI5_SCK_Pin|SPI5_MISO_Pin|SPI5_MOSI_Pin;
  GPIO_InitStruct.Mode = LL_GPIO_MODE_ALTERNATE;
  GPIO_InitStruct.Speed = LL_GPIO_SPEED_FREQ_LOW;
  GPIO_InitStruct.OutputType = LL_GPIO_OUTPUT_PUSHPULL;
  GPIO_InitStruct.Pull = LL_GPIO_PULL_NO;
  GPIO_InitStruct.Alternate = LL_GPIO_AF_5;
  LL_GPIO_Init(GPIOF, &GPIO_InitStruct);

  /**/
  GPIO_InitStruct.Pin = ENABLE_Pin;
  GPIO_InitStruct.Mode = LL_GPIO_MODE_ALTERNATE;
  GPIO_InitStruct.Speed = LL_GPIO_SPEED_FREQ_LOW;
  GPIO_InitStruct.OutputType = LL_GPIO_OUTPUT_PUSHPULL;
  GPIO_InitStruct.Pull = LL_GPIO_PULL_NO;
  GPIO_InitStruct.Alternate = LL_GPIO_AF_14;
  LL_GPIO_Init(ENABLE_GPIO_Port, &GPIO_InitStruct);

  /**/
  GPIO_InitStruct.Pin = SDNWE_Pin;
  GPIO_InitStruct.Mode = LL_GPIO_MODE_ALTERNATE;
  GPIO_InitStruct.Speed = LL_GPIO_SPEED_FREQ_VERY_HIGH;
  GPIO_InitStruct.OutputType = LL_GPIO_OUTPUT_PUSHPULL;
  GPIO_InitStruct.Pull = LL_GPIO_PULL_NO;
  GPIO_InitStruct.Alternate = LL_GPIO_AF_12;
  LL_GPIO_Init(SDNWE_GPIO_Port, &GPIO_InitStruct);

  /**/
  GPIO_InitStruct.Pin = NCS_MEMS_SPI_Pin|CSX_Pin|OTG_FS_PSO_Pin;
  GPIO_InitStruct.Mode = LL_GPIO_MODE_OUTPUT;
  GPIO_InitStruct.Speed = LL_GPIO_SPEED_FREQ_LOW;
  GPIO_InitStruct.OutputType = LL_GPIO_OUTPUT_PUSHPULL;
  GPIO_InitStruct.Pull = LL_GPIO_PULL_NO;
  LL_GPIO_Init(GPIOC, &GPIO_InitStruct);

  /**/
  GPIO_InitStruct.Pin = B5_Pin|VSYNC_Pin|G2_Pin|R4_Pin
                          |R5_Pin;
  GPIO_InitStruct.Mode = LL_GPIO_MODE_ALTERNATE;
  GPIO_InitStruct.Speed = LL_GPIO_SPEED_FREQ_LOW;
  GPIO_InitStruct.OutputType = LL_GPIO_OUTPUT_PUSHPULL;
  GPIO_InitStruct.Pull = LL_GPIO_PULL_NO;
  GPIO_InitStruct.Alternate = LL_GPIO_AF_14;
  LL_GPIO_Init(GPIOA, &GPIO_InitStruct);

  /**/
  GPIO_InitStruct.Pin = ACP_RST_Pin;
  GPIO_InitStruct.Mode = LL_GPIO_MODE_OUTPUT;
  GPIO_InitStruct.Speed = LL_GPIO_SPEED_FREQ_LOW;
  GPIO_InitStruct.OutputType = LL_GPIO_OUTPUT_PUSHPULL;
  GPIO_InitStruct.Pull = LL_GPIO_PULL_NO;
  LL_GPIO_Init(ACP_RST_GPIO_Port, &GPIO_InitStruct);

  /**/
  GPIO_InitStruct.Pin = R3_Pin|R6_Pin;
  GPIO_InitStruct.Mode = LL_GPIO_MODE_ALTERNATE;
  GPIO_InitStruct.Speed = LL_GPIO_SPEED_FREQ_LOW;
  GPIO_InitStruct.OutputType = LL_GPIO_OUTPUT_PUSHPULL;
  GPIO_InitStruct.Pull = LL_GPIO_PULL_NO;
  GPIO_InitStruct.Alternate = LL_GPIO_AF_9;
  LL_GPIO_Init(GPIOB, &GPIO_InitStruct);

  /**/
  GPIO_InitStruct.Pin = BOOT1_Pin;
  GPIO_InitStruct.Mode = LL_GPIO_MODE_INPUT;
  GPIO_InitStruct.Pull = LL_GPIO_PULL_NO;
  LL_GPIO_Init(BOOT1_GPIO_Port, &GPIO_InitStruct);

  /**/
  GPIO_InitStruct.Pin = A10_Pin|A11_Pin|BA0_Pin|BA1_Pin
                          |SDCLK_Pin|SDNCAS_Pin;
  GPIO_InitStruct.Mode = LL_GPIO_MODE_ALTERNATE;
  GPIO_InitStruct.Speed = LL_GPIO_SPEED_FREQ_VERY_HIGH;
  GPIO_InitStruct.OutputType = LL_GPIO_OUTPUT_PUSHPULL;
  GPIO_InitStruct.Pull = LL_GPIO_PULL_NO;
  GPIO_InitStruct.Alternate = LL_GPIO_AF_12;
  LL_GPIO_Init(GPIOG, &GPIO_InitStruct);

  /**/
  GPIO_InitStruct.Pin = D4_Pin|D5_Pin|D6_Pin|D7_Pin
                          |D8_Pin|D9_Pin|D10_Pin|D11_Pin
                          |D12_Pin|NBL0_Pin|NBL1_Pin;
  GPIO_InitStruct.Mode = LL_GPIO_MODE_ALTERNATE;
  GPIO_InitStruct.Speed = LL_GPIO_SPEED_FREQ_VERY_HIGH;
  GPIO_InitStruct.OutputType = LL_GPIO_OUTPUT_PUSHPULL;
  GPIO_InitStruct.Pull = LL_GPIO_PULL_NO;
  GPIO_InitStruct.Alternate = LL_GPIO_AF_12;
  LL_GPIO_Init(GPIOE, &GPIO_InitStruct);

  /**/
  GPIO_InitStruct.Pin = G4_Pin|G5_Pin|B6_Pin|B7_Pin;
  GPIO_InitStruct.Mode = LL_GPIO_MODE_ALTERNATE;
  GPIO_InitStruct.Speed = LL_GPIO_SPEED_FREQ_LOW;
  GPIO_InitStruct.OutputType = LL_GPIO_OUTPUT_PUSHPULL;
  GPIO_InitStruct.Pull = LL_GPIO_PULL_NO;
  GPIO_InitStruct.Alternate = LL_GPIO_AF_14;
  LL_GPIO_Init(GPIOB, &GPIO_InitStruct);

  /**/
  GPIO_InitStruct.Pin = OTG_HS_ID_Pin|OTG_HS_DM_Pin|OTG_HS_DP_Pin;
  GPIO_InitStruct.Mode = LL_GPIO_MODE_ALTERNATE;
  GPIO_InitStruct.Speed = LL_GPIO_SPEED_FREQ_LOW;
  GPIO_InitStruct.OutputType = LL_GPIO_OUTPUT_PUSHPULL;
  GPIO_InitStruct.Pull = LL_GPIO_PULL_NO;
  GPIO_InitStruct.Alternate = LL_GPIO_AF_12;
  LL_GPIO_Init(GPIOB, &GPIO_InitStruct);

  /**/
  GPIO_InitStruct.Pin = VBUS_HS_Pin;
  GPIO_InitStruct.Mode = LL_GPIO_MODE_INPUT;
  GPIO_InitStruct.Pull = LL_GPIO_PULL_NO;
  LL_GPIO_Init(VBUS_HS_GPIO_Port, &GPIO_InitStruct);

  /**/
  GPIO_InitStruct.Pin = D13_Pin|D14_Pin|D15_Pin|D0_Pin
                          |D1_Pin|D2_Pin|D3_Pin;
  GPIO_InitStruct.Mode = LL_GPIO_MODE_ALTERNATE;
  GPIO_InitStruct.Speed = LL_GPIO_SPEED_FREQ_VERY_HIGH;
  GPIO_InitStruct.OutputType = LL_GPIO_OUTPUT_PUSHPULL;
  GPIO_InitStruct.Pull = LL_GPIO_PULL_NO;
  GPIO_InitStruct.Alternate = LL_GPIO_AF_12;
  LL_GPIO_Init(GPIOD, &GPIO_InitStruct);

  /**/
  GPIO_InitStruct.Pin = TE_Pin;
  GPIO_InitStruct.Mode = LL_GPIO_MODE_INPUT;
  GPIO_InitStruct.Pull = LL_GPIO_PULL_NO;
  LL_GPIO_Init(TE_GPIO_Port, &GPIO_InitStruct);

  /**/
  GPIO_InitStruct.Pin = RDX_Pin|WRX_DCX_Pin;
  GPIO_InitStruct.Mode = LL_GPIO_MODE_OUTPUT;
  GPIO_InitStruct.Speed = LL_GPIO_SPEED_FREQ_LOW;
  GPIO_InitStruct.OutputType = LL_GPIO_OUTPUT_PUSHPULL;
  GPIO_InitStruct.Pull = LL_GPIO_PULL_NO;
  LL_GPIO_Init(GPIOD, &GPIO_InitStruct);

  /**/
  GPIO_InitStruct.Pin = R7_Pin|DOTCLK_Pin|B3_Pin;
  GPIO_InitStruct.Mode = LL_GPIO_MODE_ALTERNATE;
  GPIO_InitStruct.Speed = LL_GPIO_SPEED_FREQ_LOW;
  GPIO_InitStruct.OutputType = LL_GPIO_OUTPUT_PUSHPULL;
  GPIO_InitStruct.Pull = LL_GPIO_PULL_NO;
  GPIO_InitStruct.Alternate = LL_GPIO_AF_14;
  LL_GPIO_Init(GPIOG, &GPIO_InitStruct);

  /**/
  GPIO_InitStruct.Pin = HSYNC_Pin|G6_Pin|R2_Pin;
  GPIO_InitStruct.Mode = LL_GPIO_MODE_ALTERNATE;
  GPIO_InitStruct.Speed = LL_GPIO_SPEED_FREQ_LOW;
  GPIO_InitStruct.OutputType = LL_GPIO_OUTPUT_PUSHPULL;
  GPIO_InitStruct.Pull = LL_GPIO_PULL_NO;
  GPIO_InitStruct.Alternate = LL_GPIO_AF_14;
  LL_GPIO_Init(GPIOC, &GPIO_InitStruct);

  /**/
  GPIO_InitStruct.Pin = I2C3_SDA_Pin;
  GPIO_InitStruct.Mode = LL_GPIO_MODE_ALTERNATE;
  GPIO_InitStruct.Speed = LL_GPIO_SPEED_FREQ_LOW;
  GPIO_InitStruct.OutputType = LL_GPIO_OUTPUT_OPENDRAIN;
  GPIO_InitStruct.Pull = LL_GPIO_PULL_NO;
  GPIO_InitStruct.Alternate = LL_GPIO_AF_4;
  LL_GPIO_Init(I2C3_SDA_GPIO_Port, &GPIO_InitStruct);

  /**/
  GPIO_InitStruct.Pin = I2C3_SCL_Pin;
  GPIO_InitStruct.Mode = LL_GPIO_MODE_ALTERNATE;
  GPIO_InitStruct.Speed = LL_GPIO_SPEED_FREQ_LOW;
  GPIO_InitStruct.OutputType = LL_GPIO_OUTPUT_OPENDRAIN;
  GPIO_InitStruct.Pull = LL_GPIO_PULL_NO;
  GPIO_InitStruct.Alternate = LL_GPIO_AF_4;
  LL_GPIO_Init(I2C3_SCL_GPIO_Port, &GPIO_InitStruct);

  /**/
  GPIO_InitStruct.Pin = G7_Pin|B2_Pin;
  GPIO_InitStruct.Mode = LL_GPIO_MODE_ALTERNATE;
  GPIO_InitStruct.Speed = LL_GPIO_SPEED_FREQ_LOW;
  GPIO_InitStruct.OutputType = LL_GPIO_OUTPUT_PUSHPULL;
  GPIO_InitStruct.Pull = LL_GPIO_PULL_NO;
  GPIO_InitStruct.Alternate = LL_GPIO_AF_14;
  LL_GPIO_Init(GPIOD, &GPIO_InitStruct);

  /**/
  GPIO_InitStruct.Pin = G3_Pin|B4_Pin;
  GPIO_InitStruct.Mode = LL_GPIO_MODE_ALTERNATE;
  GPIO_InitStruct.Speed = LL_GPIO_SPEED_FREQ_LOW;
  GPIO_InitStruct.OutputType = LL_GPIO_OUTPUT_PUSHPULL;
  GPIO_InitStruct.Pull = LL_GPIO_PULL_NO;
  GPIO_InitStruct.Alternate = LL_GPIO_AF_9;
  LL_GPIO_Init(GPIOG, &GPIO_InitStruct);

  /**/
  GPIO_InitStruct.Pin = LD3_Pin|LD4_Pin;
  GPIO_InitStruct.Mode = LL_GPIO_MODE_OUTPUT;
  GPIO_InitStruct.Speed = LL_GPIO_SPEED_FREQ_LOW;
  GPIO_InitStruct.OutputType = LL_GPIO_OUTPUT_PUSHPULL;
  GPIO_InitStruct.Pull = LL_GPIO_PULL_NO;
  LL_GPIO_Init(GPIOG, &GPIO_InitStruct);

  /**/
  GPIO_InitStruct.Pin = SDCKE1_Pin|SDNE1_Pin;
  GPIO_InitStruct.Mode = LL_GPIO_MODE_ALTERNATE;
  GPIO_InitStruct.Speed = LL_GPIO_SPEED_FREQ_VERY_HIGH;
  GPIO_InitStruct.OutputType = LL_GPIO_OUTPUT_PUSHPULL;
  GPIO_InitStruct.Pull = LL_GPIO_PULL_NO;
  GPIO_InitStruct.Alternate = LL_GPIO_AF_12;
  LL_GPIO_Init(GPIOB, &GPIO_InitStruct);

  /**/
  LL_SYSCFG_SetEXTISource(LL_SYSCFG_EXTI_PORTA, LL_SYSCFG_EXTI_LINE0);

  /**/
  LL_SYSCFG_SetEXTISource(LL_SYSCFG_EXTI_PORTA, LL_SYSCFG_EXTI_LINE1);

  /**/
  LL_SYSCFG_SetEXTISource(LL_SYSCFG_EXTI_PORTA, LL_SYSCFG_EXTI_LINE2);

  /**/
  LL_SYSCFG_SetEXTISource(LL_SYSCFG_EXTI_PORTC, LL_SYSCFG_EXTI_LINE5);

  /**/
  LL_SYSCFG_SetEXTISource(LL_SYSCFG_EXTI_PORTA, LL_SYSCFG_EXTI_LINE15);

  /**/
  EXTI_InitStruct.Line_0_31 = LL_EXTI_LINE_0;
  EXTI_InitStruct.LineCommand = ENABLE;
  EXTI_InitStruct.Mode = LL_EXTI_MODE_EVENT;
  EXTI_InitStruct.Trigger = LL_EXTI_TRIGGER_RISING;
  LL_EXTI_Init(&EXTI_InitStruct);

  /**/
  EXTI_InitStruct.Line_0_31 = LL_EXTI_LINE_1;
  EXTI_InitStruct.LineCommand = ENABLE;
  EXTI_InitStruct.Mode = LL_EXTI_MODE_EVENT;
  EXTI_InitStruct.Trigger = LL_EXTI_TRIGGER_RISING;
  LL_EXTI_Init(&EXTI_InitStruct);

  /**/
  EXTI_InitStruct.Line_0_31 = LL_EXTI_LINE_2;
  EXTI_InitStruct.LineCommand = ENABLE;
  EXTI_InitStruct.Mode = LL_EXTI_MODE_EVENT;
  EXTI_InitStruct.Trigger = LL_EXTI_TRIGGER_RISING;
  LL_EXTI_Init(&EXTI_InitStruct);

  /**/
  EXTI_InitStruct.Line_0_31 = LL_EXTI_LINE_5;
  EXTI_InitStruct.LineCommand = ENABLE;
  EXTI_InitStruct.Mode = LL_EXTI_MODE_EVENT;
  EXTI_InitStruct.Trigger = LL_EXTI_TRIGGER_RISING;
  LL_EXTI_Init(&EXTI_InitStruct);

  /**/
  EXTI_InitStruct.Line_0_31 = LL_EXTI_LINE_15;
  EXTI_InitStruct.LineCommand = ENABLE;
  EXTI_InitStruct.Mode = LL_EXTI_MODE_EVENT;
  EXTI_InitStruct.Trigger = LL_EXTI_TRIGGER_RISING;
  LL_EXTI_Init(&EXTI_InitStruct);

  /**/
  LL_GPIO_SetPinPull(B1_GPIO_Port, B1_Pin, LL_GPIO_PULL_NO);

  /**/
  LL_GPIO_SetPinPull(MEMS_INT1_GPIO_Port, MEMS_INT1_Pin, LL_GPIO_PULL_NO);

  /**/
  LL_GPIO_SetPinPull(MEMS_INT2_GPIO_Port, MEMS_INT2_Pin, LL_GPIO_PULL_NO);

  /**/
  LL_GPIO_SetPinPull(OTG_FS_OC_GPIO_Port, OTG_FS_OC_Pin, LL_GPIO_PULL_NO);

  /**/
  LL_GPIO_SetPinPull(TP_INT1_GPIO_Port, TP_INT1_Pin, LL_GPIO_PULL_NO);

  /**/
  LL_GPIO_SetPinMode(B1_GPIO_Port, B1_Pin, LL_GPIO_MODE_INPUT);

  /**/
  LL_GPIO_SetPinMode(MEMS_INT1_GPIO_Port, MEMS_INT1_Pin, LL_GPIO_MODE_INPUT);

  /**/
  LL_GPIO_SetPinMode(MEMS_INT2_GPIO_Port, MEMS_INT2_Pin, LL_GPIO_MODE_INPUT);

  /**/
  LL_GPIO_SetPinMode(OTG_FS_OC_GPIO_Port, OTG_FS_OC_Pin, LL_GPIO_MODE_INPUT);

  /**/
  LL_GPIO_SetPinMode(TP_INT1_GPIO_Port, TP_INT1_Pin, LL_GPIO_MODE_INPUT);

}

/* USER CODE BEGIN 4 */
void UartRxTask(void const * argument)
{
  (void)argument;
  UART1_SendString("UartRxTask started\r\n");

  uint16_t oldPos = 0;
  uint16_t newPos;

  for (;;)
  {
    if (xQueueReceive(rxQueueHandle, &newPos, portMAX_DELAY) == pdPASS)
    {
      newPos = DMA_RX_BUFFER_SIZE - LL_DMA_GetDataLength(DMA2, LL_DMA_STREAM_2);

      if (newPos > oldPos)
      {
        for (uint16_t i = oldPos; i < newPos; i++)
        {
          process_byte(dmaRxBuffer[i]);
        }
      }
      else if (newPos < oldPos)
      {
        for (uint16_t i = oldPos; i < DMA_RX_BUFFER_SIZE; i++)
        {
          process_byte(dmaRxBuffer[i]);
        }
        for (uint16_t i = 0; i < newPos; i++)
        {
          process_byte(dmaRxBuffer[i]);
        }
      }

      oldPos = newPos;
    }
  }
}

static void process_byte(uint8_t rx)
{
  if (rx == '(')
  {
    if (start_flag == 1)
    {
      cleanupBuffers();
      return;
    }
    start_flag = 1;
  }

  if (start_flag == 0)
  {
    return;
  }

  if (rx == ')')
  {
    end_flag = 1;
  }

  if (cmdIndex < CMD_BUFFER_SIZE - 1)
  {
    cmdBuffer[cmdIndex++] = rx;
    cmdBuffer[cmdIndex] = '\0';
  }
  else
  {
    cleanupBuffers();
    return;
  }

  if (start_flag == 1 && end_flag == 1)
  {
    Command_t command;
    strncpy(command.data, cmdBuffer, CMD_BUFFER_SIZE);

    if (xQueueSend(cmdQueueHandle, &command, 0) != pdPASS)
    {
      UART1_SendString("cmdQueue FULL\r\n");
    }

    cleanupBuffers();
  }
}

void CommandTask(void const * argument)
{
  (void)argument;
  UART1_SendString("CommandTask started\r\n");
  for(;;)
  {
    TxMessage_t txMessage;
    Command_t cmd;
    if (xQueueReceive(cmdQueueHandle, &cmd, portMAX_DELAY) == pdPASS)
    {
      cmd.data[CMD_BUFFER_SIZE - 1] = '\0';

      if (strcmp(cmd.data, "(ON)") == 0)
      {
        if (led_on == 1)
        {
          strncpy(txMessage.data, "Already ON\r\n", TX_BUFFER_SIZE);
        }
        else
        {
          LL_GPIO_SetOutputPin(GPIOG, LL_GPIO_PIN_13);
          led_on = 1;
          strncpy(txMessage.data, "LED ON\r\n", TX_BUFFER_SIZE);
        }
      }
      else if (strcmp(cmd.data, "(OFF)") == 0)
      {
        if (led_on == 1)
        {
          LL_GPIO_ResetOutputPin(GPIOG, LL_GPIO_PIN_13);
          led_on = 0;
          strncpy(txMessage.data, "LED OFF\r\n", TX_BUFFER_SIZE);
        }
        else
        {
          strncpy(txMessage.data, "Already OFF\r\n", TX_BUFFER_SIZE);
        }
      }
      else if (strcmp(cmd.data, "()") == 0)
      {
        strncpy(txMessage.data, "Command is empty\r\n", TX_BUFFER_SIZE);
      }
      else
      {
        strncpy(txMessage.data, "Wrong command\r\n", TX_BUFFER_SIZE);
      }

      if (xQueueSend(txQueueHandle, &txMessage, 0) != pdPASS)
      {
        UART1_SendString("txQueue FULL\r\n");
      }
    }
  }
}

void UartTxTask(void const * argument)
{
  (void)argument;
  UART1_SendString("UartTxTask started\r\n");
  for(;;)
  {
    TxMessage_t txMessage;
    if (xQueueReceive(txQueueHandle, &txMessage, portMAX_DELAY) == pdPASS)
    {
      UART1_SendString(txMessage.data);
    }
  }
}
/* USER CODE END 4 */

// void StartDefaultTask(void const * argument)
// {
//   /* USER CODE BEGIN 5 */
//   (void)argument;
//   /* Infinite loop */
//   for(;;)
//   {
// 	  // 1. hello							- wrong
// 	  // 2. (OK)							- wrong
// 	  // 3. (hellohellohellohellohello		- wrong
// 	  // 4. )OK)							- wrong
// 	  // 5. ((ON)							- wrong
// 	  // 6. (ON)							- good
// 	 if (LL_USART_IsActiveFlag_RXNE(USART1))
// 	 {
// 		 uint8_t rx = LL_USART_ReceiveData8(USART1);

// 		 if (rx == '(') 	// Check if symbol is start of command
// 		 {
// 			 if (start_flag == 1) 	// If we already started our command
// 			 {
// 				 cleanupBuffers(); 	// Clean
// 				 continue;			// Command is wrong, continue to listen on commands
// 			 }
// 			 start_flag = 1;		// Good, it is a start of command
// 		 }
// 		 if (start_flag == 0)		// If first symbol is not a start of command
// 		 {
// 			 continue;				// Skip and continue to listen on commands
// 		 }
// 		 if (rx == ')') 	// If we reach end of command
// 		 {
// 			 end_flag = 1;
// 		 }

// 		 if (cmdIndex < CMD_BUFFER_SIZE - 1)	// We have limited buffer size
// 		 {
// 			cmdBuffer[cmdIndex++] = rx;
// 			cmdBuffer[cmdIndex] = '\0';
// 		 }
// 		 else // If we got too many symbols, clean and continue to listen on commands
// 		 {
// 			 cleanupBuffers();
// 			 continue;
// 		 }

// 		 if (start_flag == 1 && end_flag == 1)					// If we saved full command
// 		 {
// 			 if (strcmp(cmdBuffer, "(ON)") == 0)
// 			 {
// 				 if (led_on == 1)
// 				 {
// 					 UART1_SendString("Already ON\r\n");
// 				 }
// 				 else
// 				 {
// 					 LL_GPIO_SetOutputPin(GPIOG, LL_GPIO_PIN_13);
// 					 UART1_SendString("LED ON\r\n");
// 					 led_on = 1;
// 				 }
// 			 }
// 			 else if (strcmp(cmdBuffer, "(OFF)") == 0)
// 			 {
// 				 if (led_on == 0)
// 				 {
// 					 UART1_SendString("Already OFF ----33-- \r\n");
// 				 }
// 				 else
// 				 {
// 					LL_GPIO_ResetOutputPin(GPIOG, LL_GPIO_PIN_13);
// 					UART1_SendString("LED OFF\r\n");
// 					led_on = 0;
// 				 }
// 			 }
// 			 else if (strcmp(cmdBuffer, "()") == 0)				// Command is empty, means we got only ( and ) in a row
// 			 {
// 				UART1_SendString("Command is empty\r\n");
// 			 }
// 			 else
// 			 {
// 				UART1_SendString("Wrong command\r\n");
// 			 }

// 			 cleanupBuffers();									// After we got command, we continue to listen on commands
// 		 }
// 	 }
//   }
//   /* USER CODE END 5 */
// }

void Error_Handler(void)
{
  __disable_irq();
  while (1)
  {
  }
}
